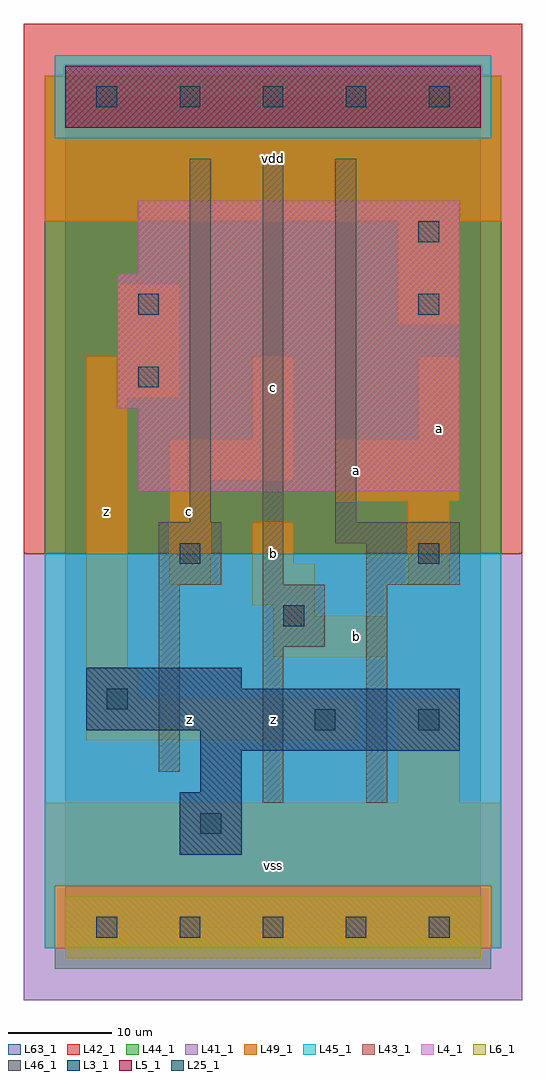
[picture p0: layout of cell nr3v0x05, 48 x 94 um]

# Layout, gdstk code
import gdstk
lib = gdstk.Library(unit=1e-6, precision=1e-09)
def R(c, l, rs):  # rectangles x0, y0, x1, y1
    for r in rs: c.add(gdstk.rectangle(r[:2], r[2:], *l))
def A(c, l, x, y, w, h, nx, ny, dx, dy):  # array of equal rectangles
    R(c, l, [(x+i*dx, y+j*dy, x+i*dx+w, y+j*dy+h) for i in range(nx) for j in range(ny)])
L3_1 = (3, 1)
L4_1 = (4, 1)
L5_1 = (5, 1)
L6_1 = (6, 1)
L25_1 = (25, 1)
L41_1 = (41, 1)
L42_1 = (42, 1)
L43_1 = (43, 1)
L44_1 = (44, 1)
L45_1 = (45, 1)
L46_1 = (46, 1)
L49_1 = (49, 1)
L63_1 = (63, 1)

nr3v0x05 = lib.new_cell('nr3v0x05')
R(nr3v0x05, L3_1, [(11,7,17,13), (13,13,17,17), (13,17,38,19), (2,19,38,23), (2,23,17,25)])
R(nr3v0x05, L4_1, [(7,42,38,50), (5,50,38,63), (7,63,38,70)])
R(nr3v0x05, L5_1, [(0,77,40,83)])
R(nr3v0x05, L6_1, [(0,-3,40,3), (0,-3,40,3)])
A(nr3v0x05, L25_1, 3, -1, 2, 2, 5, 2, 8, 80)
R(nr3v0x05, L25_1, [(13,9,15,11), (24,19,26,21), (34,19,36,21), (4,21,6,23), (21,29,23,31), (11,35,13,37), (34,35,36,37), (7,52,9,54), (7,59,9,61), (34,59,36,61), (34,66,36,68)])
R(nr3v0x05, L41_1, [(-4,-7,44,36)])
R(nr3v0x05, L42_1, [(-4,36,44,87)])
R(nr3v0x05, L43_1, [(0,-3,40,3), (11,7,17,13), (13,13,17,17), (13,17,38,19), (2,19,38,23), (2,23,17,25), (7,42,38,50), (5,50,38,63), (7,63,38,70), (0,77,40,83)])
R(nr3v0x05, L44_1, [(-1,-4,41,4), (-2,36,42,76), (-2,76,-1,82), (41,76,42,82)])
R(nr3v0x05, L45_1, [(-2,-2,-1,4), (41,-2,42,4), (-2,4,42,36), (-1,76,41,84)])
R(nr3v0x05, L46_1, [(19,12,21,27), (29,12,31,33), (9,15,11,33), (19,27,25,33), (9,33,15,39), (19,33,21,74), (29,33,38,37), (26,37,38,39), (12,39,14,74), (26,39,28,74)])
R(nr3v0x05, L49_1, [(-2,-2,42,12), (32,12,38,22), (2,18,28,22), (2,22,7,25), (2,25,6,51), (20,26,31,30), (20,30,24,31), (18,31,24,35), (10,33,14,43), (33,33,37,41), (18,35,22,39), (26,41,38,47), (10,43,22,47), (18,47,22,55), (34,47,38,55), (2,51,11,55), (5,55,11,62), (32,58,38,68), (-2,68,42,82)])
R(nr3v0x05, L63_1, [(0,0,40,80)])
nr3v0x05.add(gdstk.Label('z', (4,40), layer=49, texttype=1))
nr3v0x05.add(gdstk.Label('z', (12,20), layer=49, texttype=1))
nr3v0x05.add(gdstk.Label('c', (12,40), layer=49, texttype=1))
nr3v0x05.add(gdstk.Label('vss', (20,6), layer=49, texttype=1))
nr3v0x05.add(gdstk.Label('vss', (20,6), layer=49, texttype=1))
nr3v0x05.add(gdstk.Label('z', (20,20), layer=49, texttype=1))
nr3v0x05.add(gdstk.Label('b', (20,36), layer=49, texttype=1))
nr3v0x05.add(gdstk.Label('b', (28,28), layer=49, texttype=1))
nr3v0x05.add(gdstk.Label('a', (28,44), layer=49, texttype=1))
nr3v0x05.add(gdstk.Label('c', (20,52), layer=49, texttype=1))
nr3v0x05.add(gdstk.Label('vdd', (20,74), layer=49, texttype=1))
nr3v0x05.add(gdstk.Label('vdd', (20,74), layer=49, texttype=1))
nr3v0x05.add(gdstk.Label('a', (36,48), layer=49, texttype=1))

lib.write_gds('nr3v0x05.gds')
